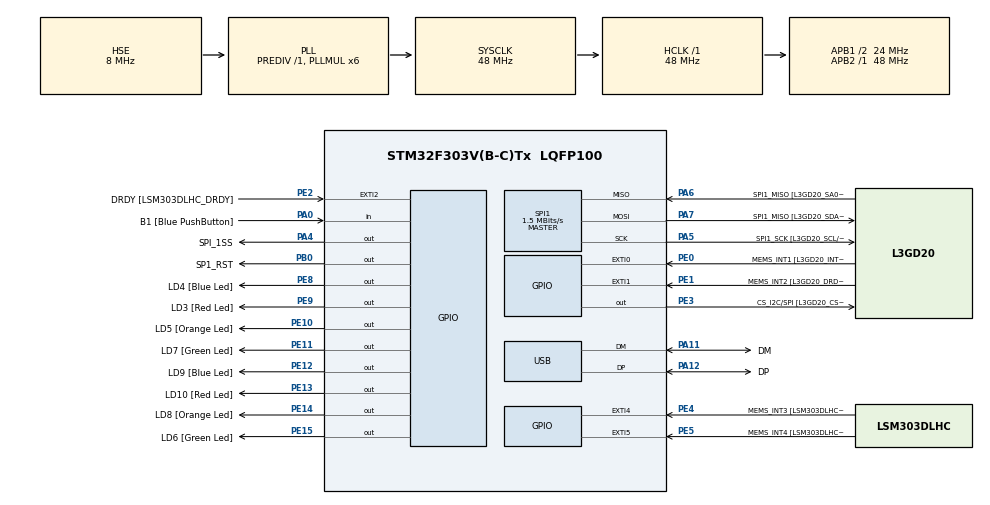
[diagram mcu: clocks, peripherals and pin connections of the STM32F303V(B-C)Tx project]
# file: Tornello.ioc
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Mcu.Family=STM32F3
Mcu.Name=STM32F303V(B-C)Tx
Mcu.Package=LQFP100
NVIC.PriorityGroup=NVIC_PRIORITYGROUP_0
PA0.GPIO_Label=B1 [Blue PushButton]
PA0.Signal=GPIO_Input
PA11.GPIO_Label=DM
PA11.Mode=Device
PA11.Signal=USB_DM
PA12.GPIO_Label=DP
PA12.Mode=Device
PA12.Signal=USB_DP
PA13.GPIO_Label=SWDIO
PA13.Mode=Serial_Wire
PA13.Signal=SYS_JTMS-SWDIO
PA14.GPIO_Label=SWCLK
PA14.Mode=Serial_Wire
PA14.Signal=SYS_JTCK-SWCLK
PA4.GPIO_Label=SPI_1SS
PA4.Signal=GPIO_Output
PA5.GPIO_Label=SPI1_SCK [L3GD20_SCL/SPC]
PA5.Mode=Full_Duplex_Master
PA5.Signal=SPI1_SCK
PA6.GPIO_Label=SPI1_MISO [L3GD20_SA0/SDO]
PA6.Mode=Full_Duplex_Master
PA6.Signal=SPI1_MISO
PA7.GPIO_Label=SPI1_MISO [L3GD20_SDA/SDI/SDO]
PA7.Mode=Full_Duplex_Master
PA7.Signal=SPI1_MOSI
PB0.GPIO_Label=SP1_RST
PB0.Signal=GPIO_Output
PB3.GPIO_Label=SWO
PB3.Signal=SYS_JTDO-TRACESWO
PB6.GPIO_Label=I2C1_SCL [LSM303DLHC_SCL]
PB6.GPIO_Pu=GPIO_PULLUP
PB6.Signal=I2C1_SCL
PB7.GPIO_Label=I2C1_SDA [LSM303DLHC_SDA]
PB7.GPIO_Pu=GPIO_PULLUP
PB7.Signal=I2C1_SDA
PC14-OSC32_IN.GPIO_Label=OSC32_IN
PC14-OSC32_IN.Signal=RCC_OSC32_IN
PC15-OSC32_OUT.GPIO_Label=OSC32_OUT
PC15-OSC32_OUT.Signal=RCC_OSC32_OUT
PE0.GPIO_Label=MEMS_INT1 [L3GD20_INT1]
PE0.GPIO_ModeDefaultEXTI=GPIO_MODE_EVT_RISING
PE0.Signal=GPXTI0
PE1.GPIO_Label=MEMS_INT2 [L3GD20_DRDY/INT2]
PE1.GPIO_ModeDefaultEXTI=GPIO_MODE_EVT_RISING
PE1.Signal=GPXTI1
PE10.GPIO_Label=LD5 [Orange Led]
PE10.Signal=GPIO_Output
PE11.GPIO_Label=LD7 [Green Led]
PE11.Signal=GPIO_Output
PE12.GPIO_Label=LD9 [Blue Led]
PE12.Signal=GPIO_Output
PE13.GPIO_Label=LD10 [Red Led]
PE13.Signal=GPIO_Output
PE14.GPIO_Label=LD8 [Orange Led]
PE14.Signal=GPIO_Output
PE15.GPIO_Label=LD6 [Green Led]
PE15.Signal=GPIO_Output
PE2.GPIO_Label=DRDY [LSM303DLHC_DRDY]
PE2.GPIO_ModeDefaultEXTI=GPIO_MODE_EVT_RISING
PE2.Signal=GPXTI2
PE3.GPIO_Label=CS_I2C/SPI [L3GD20_CS_I2C/SPI]
PE3.Signal=GPIO_Output
PE4.GPIO_Label=MEMS_INT3 [LSM303DLHC_INT1]
PE4.GPIO_ModeDefaultEXTI=GPIO_MODE_EVT_RISING
PE4.Signal=GPXTI4
PE5.GPIO_Label=MEMS_INT4 [LSM303DLHC_INT2]
PE5.GPIO_ModeDefaultEXTI=GPIO_MODE_EVT_RISING
PE5.Signal=GPXTI5
PE8.GPIO_Label=LD4 [Blue Led]
PE8.Signal=GPIO_Output
PE9.GPIO_Label=LD3 [Red Led]
PE9.Signal=GPIO_Output
PF0-OSC_IN.GPIO_Label=OSC_IN
PF0-OSC_IN.Mode=HSE-External-Clock-Source
PF0-OSC_IN.Signal=RCC_OSC_IN
PF1-OSC_OUT.GPIO_Label=OSC_OUT
PF1-OSC_OUT.Signal=RCC_OSC_OUT
ProjectManager.HeapSize=0x200
ProjectManager.StackSize=0x400
ProjectManager.TargetToolchain=STM32CubeIDE
RCC.AHBFreq_Value=48000000
RCC.APB1CLKDivider=RCC_HCLK_DIV2
RCC.APB1Freq_Value=24000000
RCC.APB1TimFreq_Value=48000000
RCC.APB2Freq_Value=48000000
RCC.APB2TimFreq_Value=48000000
RCC.CortexFreq_Value=48000000
RCC.HCLKFreq_Value=48000000
RCC.HSE_VALUE=8000000
RCC.HSI_VALUE=8000000
RCC.LSE_VALUE=32768
RCC.PLLMUL=RCC_PLL_MUL6
RCC.SYSCLKFreq_VALUE=48000000
RCC.SYSCLKSourceVirtual=RCC_SYSCLKSOURCE_PLLCLK
RCC.USBFreq_Value=48000000
SPI1.BaudRatePrescaler=SPI_BAUDRATEPRESCALER_32
SPI1.BaudRatePrescaler-Full_Duplex_Master=SPI_BAUDRATEPRESCALER_2
SPI1.CalculateBaudRate=1.5 MBits/s
SPI1.CalculateBaudRate-Full_Duplex_Master=24.0 MBits/s
SPI1.DataSize=SPI_DATASIZE_8BIT
SPI1.Direction=SPI_DIRECTION_2LINES
SPI1.Mode=SPI_MODE_MASTER
SPI1.Mode-Full_Duplex_Master=SPI_MODE_MASTER
SPI1.VirtualType=VM_MASTER
board=STM32F3DISCOVERY

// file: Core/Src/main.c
/* USER CODE BEGIN Header */
/**
  ******************************************************************************
  * @file           : main.c
  * @brief          : Main program body
  ******************************************************************************
  * @attention
  *
  * Copyright (c) 2025 STMicroelectronics.
  * All rights reserved.
  *
  * This software is licensed under terms that can be found in the LICENSE file
  * in the root directory of this software component.
  * If no LICENSE file comes with this software, it is provided AS-IS.
  *
  ******************************************************************************
  */
/* USER CODE END Header */
#include "main.h"

/* USER CODE BEGIN Includes */
#include "rc522.h"
#include <stdbool.h> // Aggiungi questa riga per il tipo bool
#include "Tag.h"
/* USER CODE END Includes */

SPI_HandleTypeDef hspi1;

PCD_HandleTypeDef hpcd_USB_FS;

void SystemClock_Config(void);
static void MX_GPIO_Init(void);
static void MX_SPI1_Init(void);
static void MX_USB_PCD_Init(void);

int main(void){

  /* MCU Configuration--------------------------------------------------------*/

  /* Reset of all peripherals, Initializes the Flash interface and the Systick. */
  HAL_Init();

  /* Configure the system clock */
  SystemClock_Config();

  /* Initialize all configured peripherals */
  MX_GPIO_Init();
  MX_SPI1_Init();
  MX_USB_PCD_Init();
  /* USER CODE BEGIN 2 */
  uchar status_request=0;
  uchar TagType[2] = {0,0};
  uchar serNum[5]= {0,0,0,0,0};	//Per memorizzare il seriale del tag
  int seriale[5] = {0,0,0,0,0};
  TagData* tag;
  MFRC522_Init();
  /* USER CODE END 2 */

  /* Infinite loop */
  /* USER CODE BEGIN WHILE */
  while (1){
	  if (isSensorDetected()){
	        // Il sensore RC522 è stato rilevato e sta comunicando correttamente
	        HAL_GPIO_WritePin(LD10_GPIO_Port, LD10_Pin, GPIO_PIN_SET); // Esempio: Accendi un LED specifico per "sensore ok"
	        HAL_Delay(10); // Piccolo ritardo per stabilità

	        status_request = MFRC522_Request(PICC_REQIDL, TagType); // Cerca un tag in modalità idle

	        if (status_request == MI_OK)
	        {
	          // Tag RFID rilevato!
	          HAL_GPIO_WritePin(LD3_GPIO_Port, LD3_Pin, GPIO_PIN_SET); // Accendi il LED

	          status_request = MFRC522_Anticoll(serNum);
	          if (status_request == MI_OK)
	          {

	        	 if(isTagRegistered(&serNum)){
	        		 tag = findTag(&serNum);
	        		 //Tag Riconosciuto.
	        		 HAL_GPIO_WritePin(LD7_GPIO_Port, LD7_Pin, GPIO_PIN_SET); // Accendi il LED VERDE 7

	        		 //Invia allo schermino ecc ecc ecc.
	        		 HAL_Delay(1000);
	        		 HAL_GPIO_WritePin(LD7_GPIO_Port,LD7_Pin,GPIO_PIN_RESET);
	        	 }else{
	        		 HAL_GPIO_WritePin(LD6_GPIO_Port,LD6_Pin,GPIO_PIN_SET);
	        		 HAL_Delay(1000);
	        		 HAL_GPIO_WritePin(LD6_GPIO_Port,LD6_Pin,GPIO_PIN_RESET);
	        	 }
	          }
	        }
	        else
	        {
	          // Nessun tag rilevato o errore nella richiesta del tag
	          HAL_GPIO_WritePin(LD3_GPIO_Port, LD3_Pin, GPIO_PIN_RESET); // Spegni il LED
	        }
	    }
	    else
	    {
	        // Il sensore RC522 NON è stato rilevato o non sta comunicando
	        HAL_GPIO_WritePin(LD10_GPIO_Port, LD10_Pin, GPIO_PIN_RESET); // Spegni il LED "sensore ok"
	        HAL_GPIO_WritePin(LD3_GPIO_Port, LD3_Pin, GPIO_PIN_RESET); // Assicurati che anche il LED del tag sia spento
	        HAL_Delay(500); // Breve ritardo prima di riprovare a rilevare il sensore
	    }
	    HAL_Delay(100);
  	  }

    /* USER CODE END WHILE */

}
void SystemClock_Config(void)
{
  RCC_OscInitTypeDef RCC_OscInitStruct = {0};
  RCC_ClkInitTypeDef RCC_ClkInitStruct = {0};
  RCC_PeriphCLKInitTypeDef PeriphClkInit = {0};

  /** Initializes the RCC Oscillators according to the specified parameters
  * in the RCC_OscInitTypeDef structure.
  */
  RCC_OscInitStruct.OscillatorType = RCC_OSCILLATORTYPE_HSE;
  RCC_OscInitStruct.HSEState = RCC_HSE_BYPASS;
  RCC_OscInitStruct.HSEPredivValue = RCC_HSE_PREDIV_DIV1;
  RCC_OscInitStruct.HSIState = RCC_HSI_ON;
  RCC_OscInitStruct.PLL.PLLState = RCC_PLL_ON;
  RCC_OscInitStruct.PLL.PLLSource = RCC_PLLSOURCE_HSE;
  RCC_OscInitStruct.PLL.PLLMUL = RCC_PLL_MUL6;
  if (HAL_RCC_OscConfig(&RCC_OscInitStruct) != HAL_OK)
  {
    Error_Handler();
  }

  /** Initializes the CPU, AHB and APB buses clocks
  */
  RCC_ClkInitStruct.ClockType = RCC_CLOCKTYPE_HCLK|RCC_CLOCKTYPE_SYSCLK
                              |RCC_CLOCKTYPE_PCLK1|RCC_CLOCKTYPE_PCLK2;
  RCC_ClkInitStruct.SYSCLKSource = RCC_SYSCLKSOURCE_PLLCLK;
  RCC_ClkInitStruct.AHBCLKDivider = RCC_SYSCLK_DIV1;
  RCC_ClkInitStruct.APB1CLKDivider = RCC_HCLK_DIV2;
  RCC_ClkInitStruct.APB2CLKDivider = RCC_HCLK_DIV1;

  if (HAL_RCC_ClockConfig(&RCC_ClkInitStruct, FLASH_LATENCY_1) != HAL_OK)
  {
    Error_Handler();
  }
  PeriphClkInit.PeriphClockSelection = RCC_PERIPHCLK_USB;
  PeriphClkInit.USBClockSelection = RCC_USBCLKSOURCE_PLL;
  if (HAL_RCCEx_PeriphCLKConfig(&PeriphClkInit) != HAL_OK)
  {
    Error_Handler();
  }
}

static void MX_SPI1_Init(void)
{

  /* SPI1 parameter configuration*/
  hspi1.Instance = SPI1;
  hspi1.Init.Mode = SPI_MODE_MASTER;
  hspi1.Init.Direction = SPI_DIRECTION_2LINES;
  hspi1.Init.DataSize = SPI_DATASIZE_8BIT;
  hspi1.Init.CLKPolarity = SPI_POLARITY_LOW;
  hspi1.Init.CLKPhase = SPI_PHASE_1EDGE;
  hspi1.Init.NSS = SPI_NSS_SOFT;
  hspi1.Init.BaudRatePrescaler = SPI_BAUDRATEPRESCALER_32;
  hspi1.Init.FirstBit = SPI_FIRSTBIT_MSB;
  hspi1.Init.TIMode = SPI_TIMODE_DISABLE;
  hspi1.Init.CRCCalculation = SPI_CRCCALCULATION_DISABLE;
  hspi1.Init.CRCPolynomial = 7;
  hspi1.Init.CRCLength = SPI_CRC_LENGTH_DATASIZE;
  hspi1.Init.NSSPMode = SPI_NSS_PULSE_ENABLE;
  if (HAL_SPI_Init(&hspi1) != HAL_OK)
  {
    Error_Handler();
  }

}

static void MX_USB_PCD_Init(void)
{

  hpcd_USB_FS.Instance = USB;
  hpcd_USB_FS.Init.dev_endpoints = 8;
  hpcd_USB_FS.Init.speed = PCD_SPEED_FULL;
  hpcd_USB_FS.Init.phy_itface = PCD_PHY_EMBEDDED;
  hpcd_USB_FS.Init.low_power_enable = DISABLE;
  hpcd_USB_FS.Init.battery_charging_enable = DISABLE;
  if (HAL_PCD_Init(&hpcd_USB_FS) != HAL_OK)
  {
    Error_Handler();
  }

}

static void MX_GPIO_Init(void)
{
  GPIO_InitTypeDef GPIO_InitStruct = {0};

  /* GPIO Ports Clock Enable */
  __HAL_RCC_GPIOE_CLK_ENABLE();
  __HAL_RCC_GPIOC_CLK_ENABLE();
  __HAL_RCC_GPIOF_CLK_ENABLE();
  __HAL_RCC_GPIOA_CLK_ENABLE();
  __HAL_RCC_GPIOB_CLK_ENABLE();

  /*Configure GPIO pin Output Level */
  HAL_GPIO_WritePin(GPIOE, CS_I2C_SPI_Pin|LD4_Pin|LD3_Pin|LD5_Pin
                          |LD7_Pin|LD9_Pin|LD10_Pin|LD8_Pin
                          |LD6_Pin, GPIO_PIN_RESET);

  /*Configure GPIO pin Output Level */
  HAL_GPIO_WritePin(SPI_1SS_GPIO_Port, SPI_1SS_Pin, GPIO_PIN_RESET);

  /*Configure GPIO pin Output Level */
  HAL_GPIO_WritePin(SP1_RST_GPIO_Port, SP1_RST_Pin, GPIO_PIN_RESET);

  /*Configure GPIO pins : DRDY_Pin MEMS_INT3_Pin MEMS_INT4_Pin MEMS_INT1_Pin
                           MEMS_INT2_Pin */
  GPIO_InitStruct.Pin = DRDY_Pin|MEMS_INT3_Pin|MEMS_INT4_Pin|MEMS_INT1_Pin
                          |MEMS_INT2_Pin;
  GPIO_InitStruct.Mode = GPIO_MODE_EVT_RISING;
  GPIO_InitStruct.Pull = GPIO_NOPULL;
  HAL_GPIO_Init(GPIOE, &GPIO_InitStruct);

  /*Configure GPIO pins : CS_I2C_SPI_Pin LD4_Pin LD3_Pin LD5_Pin
                           LD7_Pin LD9_Pin LD10_Pin LD8_Pin
                           LD6_Pin */
  GPIO_InitStruct.Pin = CS_I2C_SPI_Pin|LD4_Pin|LD3_Pin|LD5_Pin
                          |LD7_Pin|LD9_Pin|LD10_Pin|LD8_Pin
                          |LD6_Pin;
  GPIO_InitStruct.Mode = GPIO_MODE_OUTPUT_PP;
  GPIO_InitStruct.Pull = GPIO_NOPULL;
  GPIO_InitStruct.Speed = GPIO_SPEED_FREQ_LOW;
  HAL_GPIO_Init(GPIOE, &GPIO_InitStruct);

  /*Configure GPIO pin : B1_Pin */
  GPIO_InitStruct.Pin = B1_Pin;
  GPIO_InitStruct.Mode = GPIO_MODE_INPUT;
  GPIO_InitStruct.Pull = GPIO_NOPULL;
  HAL_GPIO_Init(B1_GPIO_Port, &GPIO_InitStruct);

  /*Configure GPIO pin : SPI_1SS_Pin */
  GPIO_InitStruct.Pin = SPI_1SS_Pin;
  GPIO_InitStruct.Mode = GPIO_MODE_OUTPUT_PP;
  GPIO_InitStruct.Pull = GPIO_NOPULL;
  GPIO_InitStruct.Speed = GPIO_SPEED_FREQ_LOW;
  HAL_GPIO_Init(SPI_1SS_GPIO_Port, &GPIO_InitStruct);

  /*Configure GPIO pin : SP1_RST_Pin */
  GPIO_InitStruct.Pin = SP1_RST_Pin;
  GPIO_InitStruct.Mode = GPIO_MODE_OUTPUT_PP;
  GPIO_InitStruct.Pull = GPIO_NOPULL;
  GPIO_InitStruct.Speed = GPIO_SPEED_FREQ_LOW;
  HAL_GPIO_Init(SP1_RST_GPIO_Port, &GPIO_InitStruct);

  /*Configure GPIO pins : I2C1_SCL_Pin I2C1_SDA_Pin */
  GPIO_InitStruct.Pin = I2C1_SCL_Pin|I2C1_SDA_Pin;
  GPIO_InitStruct.Mode = GPIO_MODE_AF_OD;
  GPIO_InitStruct.Pull = GPIO_PULLUP;
  GPIO_InitStruct.Speed = GPIO_SPEED_FREQ_HIGH;
  GPIO_InitStruct.Alternate = GPIO_AF4_I2C1;
  HAL_GPIO_Init(GPIOB, &GPIO_InitStruct);

}

void Error_Handler(void)
{
  __disable_irq();
  while (1)
  {
  }
}
